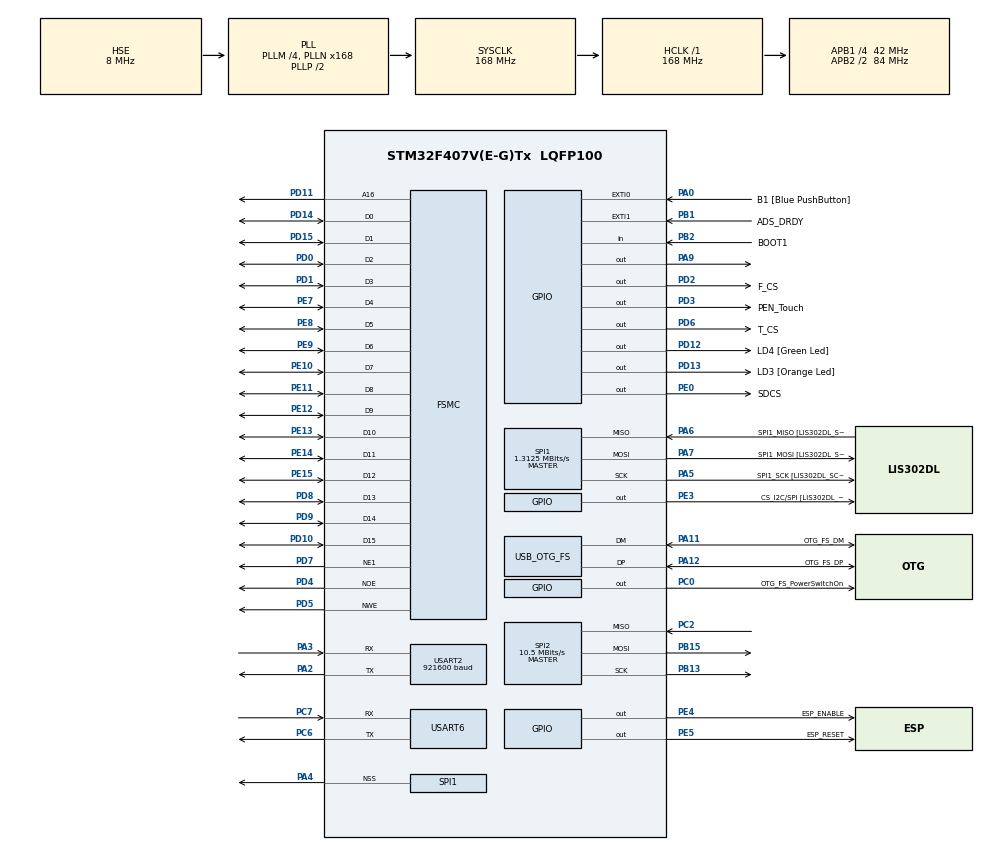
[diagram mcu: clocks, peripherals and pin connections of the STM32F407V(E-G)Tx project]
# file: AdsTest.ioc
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FATFS._CODE_PAGE=855
FATFS._MAX_SS=4096
FSMC.AddressSetupTime1=5
FSMC.BusTurnAroundDuration1=0
FSMC.DataSetupTime1=5
FSMC.ExtendedMode1=FSMC_EXTENDED_MODE_DISABLE
Mcu.Family=STM32F4
Mcu.Name=STM32F407V(E-G)Tx
Mcu.Package=LQFP100
NVIC.EXTI1_IRQn=true\:0\:0\:false\:false\:true\:true
NVIC.OTG_FS_IRQn=true\:0\:0\:false\:false\:true\:false
NVIC.PriorityGroup=NVIC_PRIORITYGROUP_0
NVIC.TIM3_IRQn=true\:0\:0\:false\:false\:true\:true
PA0-WKUP.GPIO_Label=B1 [Blue PushButton]
PA0-WKUP.GPIO_ModeDefaultEXTI=GPIO_MODE_EVT_RISING
PA0-WKUP.GPIO_PuPd=GPIO_NOPULL
PA0-WKUP.Signal=GPXTI0
PA10.GPIO_Label=OTG_FS_ID
PA10.GPIO_Mode=GPIO_MODE_AF_PP
PA10.GPIO_PuPd=GPIO_NOPULL
PA10.GPIO_Speed=GPIO_SPEED_FREQ_LOW
PA10.Signal=USB_OTG_FS_ID
PA11.GPIO_Label=OTG_FS_DM
PA11.GPIO_Mode=GPIO_MODE_AF_PP
PA11.GPIO_PuPd=GPIO_NOPULL
PA11.GPIO_Speed=GPIO_SPEED_FREQ_LOW
PA11.Mode=Host_Only
PA11.Signal=USB_OTG_FS_DM
PA12.GPIO_Label=OTG_FS_DP
PA12.GPIO_Mode=GPIO_MODE_AF_PP
PA12.GPIO_PuPd=GPIO_NOPULL
PA12.GPIO_Speed=GPIO_SPEED_FREQ_LOW
PA12.Mode=Host_Only
PA12.Signal=USB_OTG_FS_DP
PA13.GPIO_Label=SWDIO
PA13.Mode=Serial_Wire
PA13.Signal=SYS_JTMS-SWDIO
PA14.GPIO_Label=SWCLK
PA14.Mode=Serial_Wire
PA14.Signal=SYS_JTCK-SWCLK
PA2.Mode=Asynchronous
PA2.Signal=USART2_TX
PA3.Mode=Asynchronous
PA3.Signal=USART2_RX
PA4.Mode=NSS_Signal_Hard_Output
PA4.Signal=SPI1_NSS
PA5.GPIO_Label=SPI1_SCK [LIS302DL_SCL/SPC]
PA5.GPIO_Mode=GPIO_MODE_AF_PP
PA5.GPIO_PuPd=GPIO_NOPULL
PA5.GPIO_Speed=GPIO_SPEED_FREQ_VERY_HIGH
PA5.Mode=Full_Duplex_Master
PA5.Signal=SPI1_SCK
PA6.GPIO_Label=SPI1_MISO [LIS302DL_SDO]
PA6.GPIO_Mode=GPIO_MODE_AF_PP
PA6.GPIO_PuPd=GPIO_NOPULL
PA6.GPIO_Speed=GPIO_SPEED_FREQ_VERY_HIGH
PA6.Mode=Full_Duplex_Master
PA6.Signal=SPI1_MISO
PA7.GPIO_Label=SPI1_MOSI [LIS302DL_SDA/SDI/SDO]
PA7.GPIO_Mode=GPIO_MODE_AF_PP
PA7.GPIO_PuPd=GPIO_NOPULL
PA7.GPIO_Speed=GPIO_SPEED_FREQ_VERY_HIGH
PA7.Mode=Full_Duplex_Master
PA7.Signal=SPI1_MOSI
PA9.Signal=GPIO_Output
PB1.GPIO_Label=ADS_DRDY
PB1.GPIO_PuPd=GPIO_PULLDOWN
PB1.Signal=GPXTI1
PB10.GPIO_Label=CLK_IN [MP45DT02_CLK]
PB10.GPIO_Mode=GPIO_MODE_AF_PP
PB10.GPIO_PuPd=GPIO_NOPULL
PB10.GPIO_Speed=GPIO_SPEED_FREQ_LOW
PB10.Signal=I2S2_CK
PB13.Mode=Full_Duplex_Master
PB13.Signal=SPI2_SCK
PB15.Mode=Full_Duplex_Master
PB15.Signal=SPI2_MOSI
PB2.GPIO_Label=BOOT1
PB2.GPIO_Mode=GPIO_MODE_INPUT
PB2.GPIO_PuPd=GPIO_NOPULL
PB2.Signal=GPIO_Input
PB3.GPIO_Label=SWO
PB3.Signal=SYS_JTDO-SWO
PB6.GPIO_Label=Audio_SCL [CS43L22_SCL]
PB6.GPIO_Mode=GPIO_MODE_AF_OD
PB6.GPIO_PuPd=GPIO_NOPULL
PB6.GPIO_Speed=GPIO_SPEED_FREQ_LOW
PB6.Signal=I2C1_SCL
PB9.GPIO_Label=Audio_SDA [CS43L22_SDA]
PB9.GPIO_Mode=GPIO_MODE_AF_OD
PB9.GPIO_PuPd=GPIO_NOPULL
PB9.GPIO_Speed=GPIO_SPEED_FREQ_LOW
PB9.Signal=I2C1_SDA
PC0.GPIO_Label=OTG_FS_PowerSwitchOn
PC0.GPIO_PuPd=GPIO_NOPULL
PC0.GPIO_Speed=GPIO_SPEED_FREQ_LOW
PC0.PinState=GPIO_PIN_RESET
PC0.Signal=GPIO_Output
PC10.GPIO_Label=I2S3_SCK [CS43L22_SCLK]
PC10.GPIO_Mode=GPIO_MODE_AF_PP
PC10.GPIO_PuPd=GPIO_NOPULL
PC10.GPIO_Speed=GPIO_SPEED_FREQ_LOW
PC10.Signal=I2S3_CK
PC12.GPIO_Label=I2S3_SD [CS43L22_SDIN]
PC12.GPIO_Mode=GPIO_MODE_AF_PP
PC12.GPIO_PuPd=GPIO_NOPULL
PC12.GPIO_Speed=GPIO_SPEED_FREQ_LOW
PC12.Signal=I2S3_SD
PC14-OSC32_IN.GPIO_Label=PC14-OSC32_IN
PC14-OSC32_IN.Signal=RCC_OSC32_IN
PC15-OSC32_OUT.GPIO_Label=PC15-OSC32_OUT
PC15-OSC32_OUT.Signal=RCC_OSC32_OUT
PC2.Mode=Full_Duplex_Master
PC2.Signal=SPI2_MISO
PC3.GPIO_Label=PDM_OUT [MP45DT02_DOUT]
PC3.GPIO_Mode=GPIO_MODE_AF_PP
PC3.GPIO_PuPd=GPIO_NOPULL
PC3.GPIO_Speed=GPIO_SPEED_FREQ_LOW
PC3.Signal=I2S2_SD
PC6.Mode=Asynchronous
PC6.Signal=USART6_TX
PC7.Mode=Asynchronous
PC7.Signal=USART6_RX
PD0.Mode=16b-d1
PD0.Signal=FSMC_D2
PD1.Mode=16b-d1
PD1.Signal=FSMC_D3
PD10.Mode=16b-d1
PD10.Signal=FSMC_D15
PD11.Mode=A16_1
PD11.Signal=FSMC_A16
PD12.GPIO_Label=LD4 [Green Led]
PD12.GPIO_PuPd=GPIO_NOPULL
PD12.GPIO_Speed=GPIO_SPEED_FREQ_LOW
PD12.Signal=GPIO_Output
PD13.GPIO_Label=LD3 [Orange Led]
PD13.GPIO_PuPd=GPIO_NOPULL
PD13.GPIO_Speed=GPIO_SPEED_FREQ_LOW
PD13.Signal=GPIO_Output
PD14.Mode=16b-d1
PD14.Signal=FSMC_D0
PD15.Mode=16b-d1
PD15.Signal=FSMC_D1
PD2.GPIO_Label=F_CS
PD2.PinState=GPIO_PIN_SET
PD2.Signal=GPIO_Output
PD3.GPIO_Label=PEN_Touch
PD3.Signal=GPIO_Output
PD4.Mode=Lcd1
PD4.Signal=FSMC_NOE
PD5.Mode=Lcd1
PD5.Signal=FSMC_NWE
PD6.GPIO_Label=T_CS
PD6.PinState=GPIO_PIN_SET
PD6.Signal=GPIO_Output
PD7.Mode=NorPsramChipSelect1_1
PD7.Signal=FSMC_NE1
PD8.Mode=16b-d1
PD8.Signal=FSMC_D13
PD9.Mode=16b-d1
PD9.Signal=FSMC_D14
PE0.GPIO_Label=SDCS
PE0.PinState=GPIO_PIN_SET
PE0.Signal=GPIO_Output
PE10.Mode=16b-d1
PE10.Signal=FSMC_D7
PE11.Mode=16b-d1
PE11.Signal=FSMC_D8
PE12.Mode=16b-d1
PE12.Signal=FSMC_D9
PE13.Mode=16b-d1
PE13.Signal=FSMC_D10
PE14.Mode=16b-d1
PE14.Signal=FSMC_D11
PE15.Mode=16b-d1
PE15.Signal=FSMC_D12
PE3.GPIO_Label=CS_I2C/SPI [LIS302DL_CS_I2C/SPI]
PE3.GPIO_PuPd=GPIO_NOPULL
PE3.GPIO_Speed=GPIO_SPEED_FREQ_LOW
PE3.PinState=GPIO_PIN_SET
PE3.Signal=GPIO_Output
PE4.GPIO_Label=ESP_ENABLE
PE4.Signal=GPIO_Output
PE5.GPIO_Label=ESP_RESET
PE5.Signal=GPIO_Output
PE7.Mode=16b-d1
PE7.Signal=FSMC_D4
PE8.Mode=16b-d1
PE8.Signal=FSMC_D5
PE9.Mode=16b-d1
PE9.Signal=FSMC_D6
PH0-OSC_IN.GPIO_Label=PH0-OSC_IN
PH0-OSC_IN.Mode=HSE-External-Oscillator
PH0-OSC_IN.Signal=RCC_OSC_IN
PH1-OSC_OUT.GPIO_Label=PH1-OSC_OUT
PH1-OSC_OUT.Mode=HSE-External-Oscillator
PH1-OSC_OUT.Signal=RCC_OSC_OUT
ProjectManager.HeapSize=0x200
ProjectManager.StackSize=0x400
ProjectManager.TargetToolchain=SW4STM32
RCC.48MHZClocksFreq_Value=48000000
RCC.AHBFreq_Value=168000000
RCC.APB1CLKDivider=RCC_HCLK_DIV4
RCC.APB1Freq_Value=42000000
RCC.APB1TimFreq_Value=84000000
RCC.APB2CLKDivider=RCC_HCLK_DIV2
RCC.APB2Freq_Value=84000000
RCC.APB2TimFreq_Value=168000000
RCC.CortexFreq_Value=168000000
RCC.HCLKFreq_Value=168000000
RCC.HSE_VALUE=8000000
RCC.HSI_VALUE=16000000
RCC.LSE_VALUE=32768
RCC.PLLM=4
RCC.PLLN=168
RCC.PLLQ=7
RCC.SYSCLKFreq_VALUE=168000000
RCC.SYSCLKSource=RCC_SYSCLKSOURCE_PLLCLK
RCC.VCOOutputFreq_Value=336000000
SPI1.BaudRatePrescaler=SPI_BAUDRATEPRESCALER_64
SPI1.CLKPhase=SPI_PHASE_2EDGE
SPI1.CalculateBaudRate=1.3125 MBits/s
SPI1.Direction=SPI_DIRECTION_2LINES
SPI1.Mode=SPI_MODE_MASTER
SPI1.VirtualNSS=VM_NSSHARD
SPI1.VirtualType=VM_MASTER
SPI2.BaudRatePrescaler=SPI_BAUDRATEPRESCALER_4
SPI2.CLKPhase=SPI_PHASE_2EDGE
SPI2.CalculateBaudRate=10.5 MBits/s
SPI2.Direction=SPI_DIRECTION_2LINES
SPI2.Mode=SPI_MODE_MASTER
SPI2.VirtualType=VM_MASTER
TIM3.Period=999
TIM3.Prescaler=839
USART2.BaudRate=921600
USART2.VirtualMode=VM_ASYNC
USART6.VirtualMode=VM_ASYNC
USB_HOST.BSP.number=1
USB_HOST.USBH_HandleTypeDef-MSC_FS=hUsbHostFS
USB_HOST.VirtualModeFS=Msc
USB_HOST0.BSP.STBoard=false
USB_HOST0.BSP.api=Unknown
USB_HOST0.BSP.i2caddr=0
USB_HOST0.BSP.instance=PA9
USB_HOST0.BSP.ip=GPIO
USB_HOST0.BSP.mode=Output
USB_HOST0.BSP.name=Drive_VBUS_FS
USB_HOST0.BSP.solution=PA9
USB_OTG_FS.VirtualMode=Host_Only
USB_OTG_FS.phy_itface=HCD_PHY_EMBEDDED
VP_FATFS_VS_USB.Mode=USB
VP_TIM3_VS_ClockSourceINT.Mode=Internal
VP_USB_HOST_VS_USB_HOST_MSC_FS.Mode=MSC_FS
board=STM32F4DISCOVERY

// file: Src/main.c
/* USER CODE BEGIN Header */
/**
  ******************************************************************************
  * @file           : main.c
  * @brief          : Main program body
  ******************************************************************************
  * This notice applies to any and all portions of this file
  * that are not between comment pairs USER CODE BEGIN and
  * USER CODE END. Other portions of this file, whether
  * inserted by the user or by software development tools
  * are owned by their respective copyright owners.
  *
  * Copyright (c) 2018 STMicroelectronics International N.V.
  * All rights reserved.
  *
  * Redistribution and use in source and binary forms, with or without
  * modification, are permitted, provided that the following conditions are met:
  *
  * 1. Redistribution of source code must retain the above copyright notice,
  *    this list of conditions and the following disclaimer.
  * 2. Redistributions in binary form must reproduce the above copyright notice,
  *    this list of conditions and the following disclaimer in the documentation
  *    and/or other materials provided with the distribution.
  * 3. Neither the name of STMicroelectronics nor the names of other
  *    contributors to this software may be used to endorse or promote products
  *    derived from this software without specific written permission.
  * 4. This software, including modifications and/or derivative works of this
  *    software, must execute solely and exclusively on microcontroller or
  *    microprocessor devices manufactured by or for STMicroelectronics.
  * 5. Redistribution and use of this software other than as permitted under
  *    this license is void and will automatically terminate your rights under
  *    this license.
  *
  * THIS SOFTWARE IS PROVIDED BY STMICROELECTRONICS AND CONTRIBUTORS "AS IS"
  * AND ANY EXPRESS, IMPLIED OR STATUTORY WARRANTIES, INCLUDING, BUT NOT
  * LIMITED TO, THE IMPLIED WARRANTIES OF MERCHANTABILITY, FITNESS FOR A
  * PARTICULAR PURPOSE AND NON-INFRINGEMENT OF THIRD PARTY INTELLECTUAL PROPERTY
  * RIGHTS ARE DISCLAIMED TO THE FULLEST EXTENT PERMITTED BY LAW. IN NO EVENT
  * SHALL STMICROELECTRONICS OR CONTRIBUTORS BE LIABLE FOR ANY DIRECT, INDIRECT,
  * INCIDENTAL, SPECIAL, EXEMPLARY, OR CONSEQUENTIAL DAMAGES (INCLUDING, BUT NOT
  * LIMITED TO, PROCUREMENT OF SUBSTITUTE GOODS OR SERVICES; LOSS OF USE, DATA,
  * OR PROFITS; OR BUSINESS INTERRUPTION) HOWEVER CAUSED AND ON ANY THEORY OF
  * LIABILITY, WHETHER IN CONTRACT, STRICT LIABILITY, OR TORT (INCLUDING
  * NEGLIGENCE OR OTHERWISE) ARISING IN ANY WAY OUT OF THE USE OF THIS SOFTWARE,
  * EVEN IF ADVISED OF THE POSSIBILITY OF SUCH DAMAGE.
  *
  ******************************************************************************
  */
/* USER CODE END Header */

#include "main.h"
#include "fatfs.h"
#include "spi.h"
#include "tim.h"
#include "usart.h"
#include "usb_host.h"
#include "gpio.h"
#include "fsmc.h"

/* USER CODE BEGIN Includes */

#include "ADS1298.h"
#include "ili9341.h"
#include  <errno.h>
#include  <sys/unistd.h>

/* USER CODE END Includes */

/* USER CODE BEGIN PV */
/* Private variables ---------------------------------------------------------*/

uint8_t intDRDY;

/* USER CODE END PV */

void SystemClock_Config(void);
void MX_USB_HOST_Process(void);

/* USER CODE BEGIN PFP */
/* Private function prototypes -----------------------------------------------*/
uint8_t transferSPI(uint8_t send);
void USART_Send(char* strings, uint16_t sizew);

/* USER CODE END PFP */

/* USER CODE BEGIN 0 */

void HAL_GPIO_EXTI_Callback(uint16_t GPIO_Pin){
	if(GPIO_Pin == GPIO_PIN_1){
		intDRDY = 1;
	}
}

int _write(int file, char *data, int len)
{
   if ((file != STDOUT_FILENO) && (file != STDERR_FILENO))
   {
      errno = EBADF;
      return -1;
   }

   // arbitrary timeout 1000
   HAL_StatusTypeDef status =
      HAL_UART_Transmit(&huart2, (uint8_t*)data, len, 1000);

   // return # of bytes written - as best we can tell
   return (status == HAL_OK ? len : 0);
}

/* USER CODE END 0 */

int main(void)
{

  /* MCU Configuration--------------------------------------------------------*/

  /* Reset of all peripherals, Initializes the Flash interface and the Systick. */
  HAL_Init();

  /* Configure the system clock */
  SystemClock_Config();

  /* Initialize all configured peripherals */
  MX_GPIO_Init();
  MX_USART2_UART_Init();
  MX_FSMC_Init();
  MX_SPI2_Init();
  MX_TIM3_Init();
  MX_USART6_UART_Init();
  MX_USB_HOST_Init();
  MX_FATFS_Init();
  MX_SPI1_Init();
  /* USER CODE BEGIN 2 */

  ADS_Init();

  LCD_Init();
  HAL_Delay(100);
  LCD_FillScreen(BLACK);
  LCD_DisplayStringLine(0,0, "TEST STRING");

  /* USER CODE END 2 */

  /* Infinite loop */
  /* USER CODE BEGIN WHILE */

  char message[40];
  uint16_t index = 0;
  while (1)
  {

    /* USER CODE END WHILE */
    MX_USB_HOST_Process();

    /* USER CODE BEGIN 3 */

		if (intDRDY) {

			intDRDY = 0;
			ADS_updateChannelData();
			ADS_RDATA();

			//ADS_SendData();

			printf("Start!\r\n");
			HAL_UART_Transmit(&huart2, (uint8_t*)channelData, 32, 100);
			printf("Stop !\r\n");

			index++;
			if(index == 320)
            {
			    LCD_FillScreen(BLACK);
			    index = 0;
            }

			LCD_DrawPixel(index, (uint16_t)(channelData[0]/70000 + 120) ,YELLOW);
            LCD_DisplayStringLine(0,13, "intDRDY Changed");

			//ADS_START();
		}

  }
  /* USER CODE END 3 */
}

void SystemClock_Config(void)
{
  RCC_OscInitTypeDef RCC_OscInitStruct = {0};
  RCC_ClkInitTypeDef RCC_ClkInitStruct = {0};

  /**Configure the main internal regulator output voltage
  */
  __HAL_RCC_PWR_CLK_ENABLE();
  __HAL_PWR_VOLTAGESCALING_CONFIG(PWR_REGULATOR_VOLTAGE_SCALE1);
  /**Initializes the CPU, AHB and APB busses clocks
  */
  RCC_OscInitStruct.OscillatorType = RCC_OSCILLATORTYPE_HSE;
  RCC_OscInitStruct.HSEState = RCC_HSE_ON;
  RCC_OscInitStruct.PLL.PLLState = RCC_PLL_ON;
  RCC_OscInitStruct.PLL.PLLSource = RCC_PLLSOURCE_HSE;
  RCC_OscInitStruct.PLL.PLLM = 4;
  RCC_OscInitStruct.PLL.PLLN = 168;
  RCC_OscInitStruct.PLL.PLLP = RCC_PLLP_DIV2;
  RCC_OscInitStruct.PLL.PLLQ = 7;
  if (HAL_RCC_OscConfig(&RCC_OscInitStruct) != HAL_OK)
  {
    Error_Handler();
  }
  /**Initializes the CPU, AHB and APB busses clocks
  */
  RCC_ClkInitStruct.ClockType = RCC_CLOCKTYPE_HCLK|RCC_CLOCKTYPE_SYSCLK
                              |RCC_CLOCKTYPE_PCLK1|RCC_CLOCKTYPE_PCLK2;
  RCC_ClkInitStruct.SYSCLKSource = RCC_SYSCLKSOURCE_PLLCLK;
  RCC_ClkInitStruct.AHBCLKDivider = RCC_SYSCLK_DIV1;
  RCC_ClkInitStruct.APB1CLKDivider = RCC_HCLK_DIV4;
  RCC_ClkInitStruct.APB2CLKDivider = RCC_HCLK_DIV2;

  if (HAL_RCC_ClockConfig(&RCC_ClkInitStruct, FLASH_LATENCY_5) != HAL_OK)
  {
    Error_Handler();
  }
}

/* USER CODE BEGIN 4 */

uint8_t transferSPI(uint8_t send){
	uint8_t rx = 0x00;

	HAL_SPI_TransmitReceive(&hspi1, &send, &rx, sizeof(rx),0x1000);

	return rx;
}

void USART_Send(char* strings, uint16_t sizew)
{
	HAL_UART_Transmit(&huart2, (uint8_t*)strings, sizew, 100);
}
/* USER CODE END 4 */

void Error_Handler(void)
{
  while(1)
  {
  }
}

/************************ (C) COPYRIGHT STMicroelectronics *****END OF FILE****/
